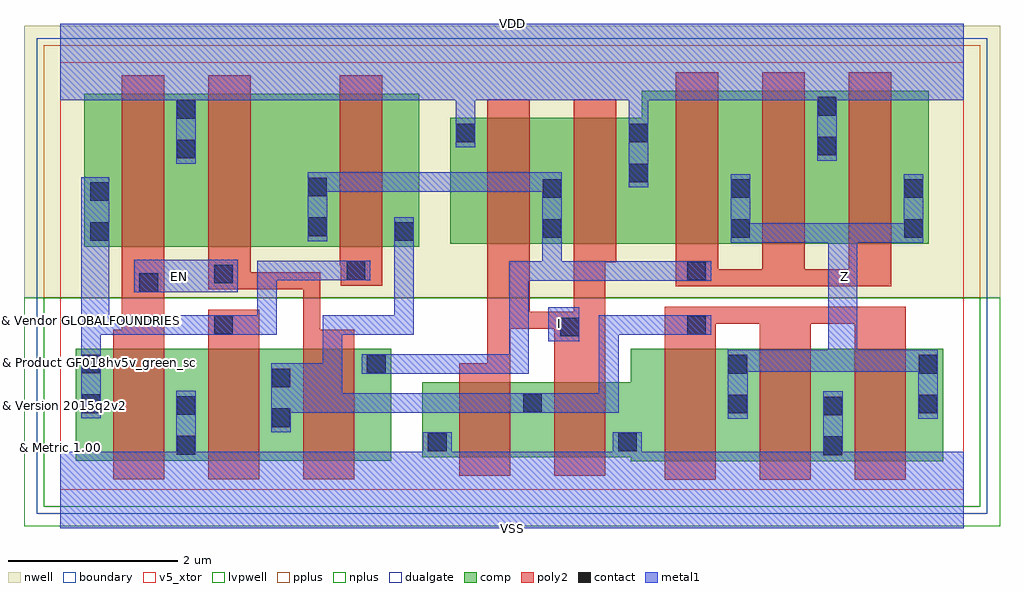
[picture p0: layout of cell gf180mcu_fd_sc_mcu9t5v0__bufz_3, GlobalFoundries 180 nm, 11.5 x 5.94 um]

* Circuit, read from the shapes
.subckt gf180mcu_fd_sc_mcu9t5v0__bufz_3 EN I VDD VSS Z
XM1 VSS EN n1 VSUBS nfet_05v0 w=1.32u l=0.6u
XM2 n2 n1 VSS VSUBS nfet_05v0 w=1.32u l=0.6u
XM3 n3 EN n2 VSUBS nfet_05v0 w=1.32u l=0.6u
XM4 n2 I VSS VSUBS nfet_05v0 w=0.885u l=0.6u m=2
XM5 Z n2 VSS VSUBS nfet_05v0 w=1.32u l=0.6u m=3
XM6 VDD EN n1 n4 pfet_05v0 w=1.8u l=0.5u
XM7 n3 EN VDD n4 pfet_05v0 w=1.8u l=0.5u
XM8 n2 n1 n3 n4 pfet_05v0 w=1.8u l=0.5u
XM9 n3 I VDD n4 pfet_05v0 w=1.485u l=0.5u m=2
XM10 Z n3 VDD n4 pfet_05v0 w=1.8u l=0.5u m=3
.ends

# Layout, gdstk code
import gdstk
lib = gdstk.Library(unit=1e-6, precision=1e-09)
def R(c, l, rs):  # rectangles x0, y0, x1, y1
    for r in rs: c.add(gdstk.rectangle(r[:2], r[2:], *l))
def P(c, l, *ps):  # polygons
    for p in ps: c.add(gdstk.Polygon(p, *l))
boundary = (0, 0)
nwell = (21, 0)
comp = (22, 0)
poly2 = (30, 0)
pplus = (31, 0)
nplus = (32, 0)
contact = (33, 0)
metal1 = (34, 0)
dualgate = (55, 0)
v5_xtor = (112, 1)
lvpwell = (204, 0)

gf180mcu_fd_sc_mcu9t5v0_ = lib.new_cell('gf180mcu_fd_sc_mcu9t5v0__bufz_3')
R(gf180mcu_fd_sc_mcu9t5v0_, boundary, [(0,0,10.64,5.04)])
R(gf180mcu_fd_sc_mcu9t5v0_, nwell, [(-0.43,2.265,11.07,5.47)])
R(gf180mcu_fd_sc_mcu9t5v0_, comp, [(0.18,0.345,3.9,1.665), (0.28,2.865,4.23,4.665)])
P(gf180mcu_fd_sc_mcu9t5v0_, comp, [(4.59,2.9),(4.59,4.385),(6.85,4.385),(6.85,4.7),(10.23,4.7),(10.23,2.9)],
  [(6.72,0.34),(6.72,0.385),(4.26,0.385),(4.26,1.27),(6.72,1.27),(6.72,1.66),(10.4,1.66),(10.4,0.34)])
R(gf180mcu_fd_sc_mcu9t5v0_, poly2, [(1.74,0.125,2.34,2.125)])
P(gf180mcu_fd_sc_mcu9t5v0_, poly2, [(0.62,0.125),(0.62,1.885),(0.72,1.885),(0.72,4.885),(1.22,4.885),(1.22,0.125)],
  [(2.86,0.125),(2.86,2.365),(1.74,2.365),(1.74,4.885),(2.24,4.885),(2.24,2.565),(3.06,2.565),(3.06,1.885),(3.46,1.885),(3.46,0.125)],
  [(3.3,2.405),(3.3,2.645),(3.29,2.645),(3.29,4.885),(3.79,4.885),(3.79,2.405)],
  [(4.7,0.165),(4.7,1.49),(5.03,1.49),(5.03,4.605),(5.53,4.605),(5.53,2.1),(6.05,2.1),(6.05,4.605),(6.55,4.605),(6.55,2.68),(6.42,2.68),(6.42,0.165),(5.82,0.165),(5.82,1.9),(5.3,1.9),(5.3,0.165)],
  [(7.25,2.4),(7.25,4.92),(7.75,4.92),(7.75,2.6),(8.27,2.6),(8.27,4.92),(8.77,4.92),(8.77,2.6),(9.29,2.6),(9.29,4.92),(9.79,4.92),(9.79,2.4)],
  [(7.12,0.12),(7.12,2.16),(9.96,2.16),(9.96,0.12),(9.36,0.12),(9.36,1.96),(8.84,1.96),(8.84,0.12),(8.24,0.12),(8.24,1.96),(7.72,1.96),(7.72,0.12)])
R(gf180mcu_fd_sc_mcu9t5v0_, pplus, [(-0.2,2.265,10.84,5.24)])
R(gf180mcu_fd_sc_mcu9t5v0_, nplus, [(-0.2,-0.2,10.84,2.265)])
R(gf180mcu_fd_sc_mcu9t5v0_, contact, [(8.99,0.41,9.21,0.63), (1.37,0.415,1.59,0.635), (4.33,0.455,4.55,0.675), (6.57,0.455,6.79,0.675), (2.49,0.74,2.71,0.96), (8.99,0.88,9.21,1.1), (1.37,0.885,1.59,1.105), (7.87,0.9,8.09,1.12), (10.11,0.9,10.33,1.12), (0.25,0.905,0.47,1.125), (5.45,0.915,5.67,1.135), (2.49,1.21,2.71,1.43), (7.87,1.37,8.09,1.59), (10.11,1.37,10.33,1.59), (0.25,1.375,0.47,1.595), (3.61,1.375,3.83,1.595), (5.89,1.81,6.11,2.03), (7.385,1.83,7.605,2.05), (1.81,1.835,2.03,2.055), (0.93,2.335,1.15,2.555), (1.81,2.435,2.03,2.655), (7.385,2.47,7.605,2.69), (3.37,2.475,3.59,2.695), (0.35,2.935,0.57,3.155), (3.94,2.935,4.16,3.155), (5.68,2.97,5.9,3.19), (7.9,2.97,8.12,3.19), (9.94,2.97,10.16,3.19), (2.92,2.99,3.14,3.21), (0.35,3.405,0.57,3.625), (5.68,3.44,5.9,3.66), (7.9,3.44,8.12,3.66), (9.94,3.44,10.16,3.66), (2.92,3.46,3.14,3.68), (6.7,3.625,6.92,3.845), (1.37,3.905,1.59,4.125), (8.92,3.94,9.14,4.16), (4.66,4.095,4.88,4.315), (6.7,4.095,6.92,4.315), (1.37,4.375,1.59,4.595), (8.92,4.41,9.14,4.63)])
R(gf180mcu_fd_sc_mcu9t5v0_, metal1, [(5.75,1.75,6.115,2.15), (0.87,2.33,2.09,2.71)])
P(gf180mcu_fd_sc_mcu9t5v0_, metal1, [(0.245,0.845),(0.245,3.685),(0.575,3.685),(0.575,2.06),(2.32,2.06),(2.32,2.7),(3.65,2.7),(3.65,2.47),(2.55,2.47),(2.55,1.83),(0.475,1.83),(0.475,0.845)],
  [(2.485,0.68),(2.485,1.49),(3.09,1.49),(3.09,2.06),(3.935,2.06),(3.935,3.215),(4.165,3.215),(4.165,1.83),(3.32,1.83),(3.32,1.14),(6.345,1.14),(6.345,2.055),(7.665,2.055),(7.665,1.825),(6.575,1.825),(6.575,0.91),(2.715,0.91),(2.715,0.68)],
  [(3.55,1.37),(3.55,1.6),(5.29,1.6),(5.29,2.695),(5.675,2.695),(5.675,3.51),(3.145,3.51),(3.145,2.93),(2.915,2.93),(2.915,3.74),(5.905,3.74),(5.905,2.695),(7.665,2.695),(7.665,2.465),(5.52,2.465),(5.52,1.37)],
  [(7.865,0.84),(7.865,1.65),(9.045,1.65),(9.045,2.91),(7.895,2.91),(7.895,3.72),(8.125,3.72),(8.125,3.14),(9.935,3.14),(9.935,3.72),(10.165,3.72),(10.165,2.91),(9.39,2.91),(9.39,1.65),(10.335,1.65),(10.335,0.84),(10.105,0.84),(10.105,1.39),(8.095,1.39),(8.095,0.84)],
  [(0,-0.45),(0,0.45),(1.365,0.45),(1.365,1.165),(1.595,1.165),(1.595,0.45),(4.27,0.45),(4.27,0.68),(4.61,0.68),(4.61,0.45),(6.51,0.45),(6.51,0.68),(6.85,0.68),(6.85,0.45),(8.985,0.45),(8.985,1.16),(9.215,1.16),(9.215,0.45),(10.64,0.45),(10.64,-0.45)],
  [(6.695,3.565),(6.695,4.59),(4.885,4.59),(4.885,4.035),(4.655,4.035),(4.655,4.59),(1.595,4.59),(1.595,3.845),(1.365,3.845),(1.365,4.59),(0,4.59),(0,5.49),(10.64,5.49),(10.64,4.59),(9.145,4.59),(9.145,3.88),(8.915,3.88),(8.915,4.59),(6.925,4.59),(6.925,3.565)])
R(gf180mcu_fd_sc_mcu9t5v0_, dualgate, [(-0.28,-0.28,10.92,5.32)])
R(gf180mcu_fd_sc_mcu9t5v0_, v5_xtor, [(0,0,10.64,5.04)])
R(gf180mcu_fd_sc_mcu9t5v0_, lvpwell, [(-0.43,-0.43,11.07,2.265)])
gf180mcu_fd_sc_mcu9t5v0_.add(gdstk.Label('EN', (1.4,2.52), layer=34, texttype=10))
gf180mcu_fd_sc_mcu9t5v0_.add(gdstk.Label('I', (5.88,1.96), layer=34, texttype=10))
gf180mcu_fd_sc_mcu9t5v0_.add(gdstk.Label('VDD', (5.32,5.49), layer=34, texttype=10))
gf180mcu_fd_sc_mcu9t5v0_.add(gdstk.Label('VSS', (5.32,-0.45), layer=34, texttype=10))
gf180mcu_fd_sc_mcu9t5v0_.add(gdstk.Label('Z', (9.24,2.52), layer=34, texttype=10))
gf180mcu_fd_sc_mcu9t5v0_.add(gdstk.Label('& Vendor GLOBALFOUNDRIES', (0,2), layer=63, texttype=63))
gf180mcu_fd_sc_mcu9t5v0_.add(gdstk.Label('& Product GF018hv5v_green_sc9', (0,1.5), layer=63, texttype=63))
gf180mcu_fd_sc_mcu9t5v0_.add(gdstk.Label('& Version 2015q2v2', (0,1), layer=63, texttype=63))
gf180mcu_fd_sc_mcu9t5v0_.add(gdstk.Label('& Metric 1.00', (0,0.5), layer=63, texttype=63))

lib.write_gds('gf180mcu_fd_sc_mcu9t5v0__bufz_3.gds')
